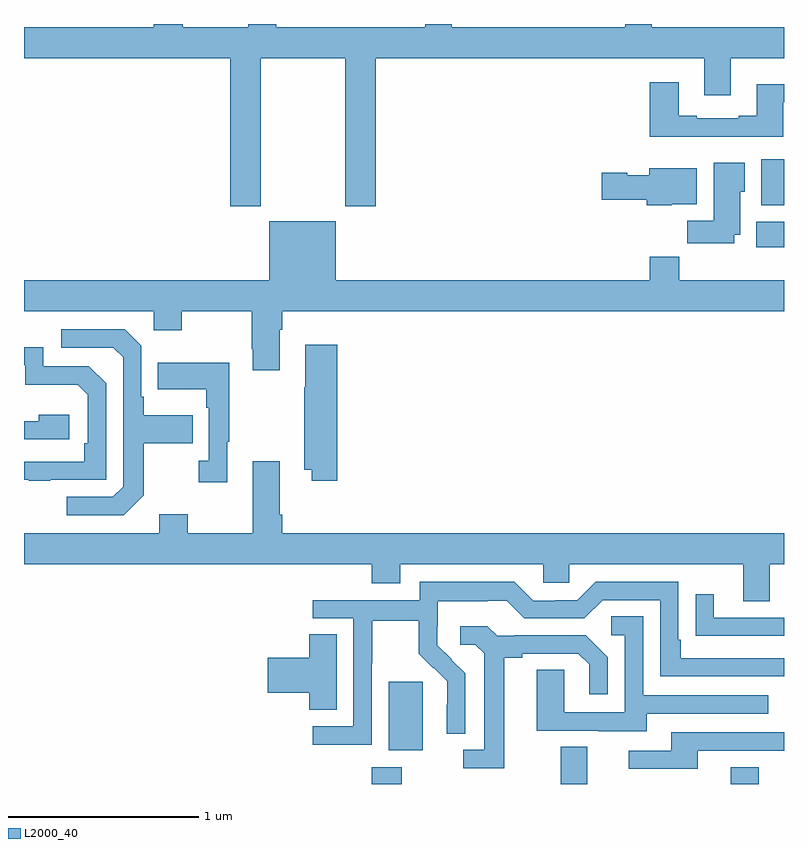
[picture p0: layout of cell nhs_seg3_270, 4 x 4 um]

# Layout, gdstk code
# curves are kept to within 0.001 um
import gdstk
lib = gdstk.Library(unit=1e-6, precision=1e-09)
def R(c, l, rs):  # rectangles x0, y0, x1, y1
    for r in rs: c.add(gdstk.rectangle(r[:2], r[2:], *l))
def P(c, l, *ps):  # polygons
    for p in ps: c.add(gdstk.Polygon(p, *l))
L2000_40 = (2000, 40)

nhs_seg3_270 = lib.new_cell('nhs_seg3_270')
R(nhs_seg3_270, L2000_40, [(124.829,726.4,124.989,726.487), (125.825,726.4,125.965,726.596), (126.719,726.4,126.867,726.487), (124.919,726.578,125.098,726.939), (126.854,729.224,127,729.358), (126.881,729.446,127,729.688)])
P(nhs_seg3_270, L2000_40, [(124.245,730.22),(124.69,730.22),(124.69,729.441),(124.85,729.441),(124.85,730.22),(126.581,730.22),(126.581,730.026),(126.721,730.026),(126.721,730.22),(127,730.22),(127,730.384),(126.303,730.384),(126.303,730.4),(126.165,730.4),(126.165,730.384),(125.251,730.384),(125.251,730.4),(125.111,730.4),(125.111,730.384),(124.327,730.384),(124.327,730.4),(124.18,730.4),(124.18,730.384),(123.835,730.384),(123.835,730.4),(123.683,730.4),(123.683,730.384),(123,730.384),(123,730.22),(124.085,730.22),(124.085,729.441),(124.245,729.441)],
  [(126.997,729.987),(127,729.987),(127,730.084),(126.857,730.084),(126.857,729.916),(126.761,729.916),(126.761,729.903),(126.541,729.903),(126.541,729.916),(126.445,729.916),(126.445,730.093),(126.293,730.093),(126.293,729.806),(126.997,729.806)],
  [(126.739,729.29),(126.769,729.29),(126.769,729.516),(126.793,729.516),(126.793,729.67),(126.629,729.67),(126.629,729.364),(126.49,729.364),(126.49,729.246),(126.739,729.246)],
  [(126.408,729.452),(126.541,729.452),(126.541,729.64),(126.29,729.64),(126.29,729.604),(126.174,729.604),(126.174,729.617),(126.042,729.617),(126.042,729.475),(126.278,729.475),(126.278,729.446),(126.408,729.446)],
  [(124.345,728.792),(124.358,728.792),(124.358,728.888),(127,728.888),(127,729.052),(126.449,729.052),(126.449,729.176),(126.293,729.176),(126.293,729.052),(124.642,729.052),(124.642,729.361),(124.292,729.361),(124.292,729.052),(123,729.052),(123,728.888),(123.684,728.888),(123.684,728.789),(123.831,728.789),(123.831,728.888),(124.198,728.888),(124.198,728.689),(124.205,728.689),(124.205,728.577),(124.345,728.577)],
  [(123.631,727.921),(123.631,728.194),(123.887,728.194),(123.887,728.341),(123.631,728.341),(123.631,728.437),(123.618,728.437),(123.618,728.706),(123.531,728.793),(123.195,728.793),(123.195,728.697),(123.471,728.697),(123.522,728.646),(123.522,727.965),(123.468,727.911),(123.225,727.911),(123.225,727.815),(123.525,727.815)],
  [(124.649,728.713),(124.481,728.713),(124.481,728.489),(124.474,728.489),(124.474,728.054),(124.514,728.054),(124.514,727.995),(124.649,727.995)],
  [(123.137,728.001),(123.432,728.001),(123.432,728.508),(123.342,728.598),(123.102,728.598),(123.102,728.7),(123,728.7),(123,728.604),(123.006,728.604),(123.006,728.501),(123.283,728.501),(123.336,728.448),(123.336,728.194),(123.316,728.194),(123.316,728.097),(123,728.097),(123,728.001),(123.025,728.001),(123.025,727.996),(123.137,727.996)],
  [(124.069,728.201),(124.081,728.201),(124.081,728.617),(123.703,728.617),(123.703,728.477),(123.96,728.477),(123.96,728.381),(123.972,728.381),(123.972,728.102),(123.921,728.102),(123.921,727.989),(124.069,727.989)],
  [(123.238,728.344),(123.077,728.344),(123.077,728.31),(123,728.31),(123,728.214),(123.238,728.214)],
  [(126.925,727.556),(127,727.556),(127,727.72),(124.358,727.72),(124.358,727.816),(124.345,727.816),(124.345,728.098),(124.205,728.098),(124.205,727.72),(123.861,727.72),(123.861,727.819),(123.713,727.819),(123.713,727.72),(123,727.72),(123,727.556),(124.829,727.556),(124.829,727.457),(124.981,727.457),(124.981,727.556),(125.733,727.556),(125.733,727.458),(125.871,727.458),(125.871,727.556),(126.785,727.556),(126.785,727.362),(126.925,727.362)],
  [(124.83,727.036),(124.833,727.036),(124.833,727.26),(125.077,727.26),(125.077,727.085),(125.154,727.008),(125.157,727.011),(125.228,726.941),(125.228,726.818),(125.226,726.818),(125.226,726.664),(125.322,726.664),(125.322,726.982),(125.176,727.13),(125.176,727.227),(125.178,727.227),(125.178,727.361),(125.441,727.361),(125.441,727.365),(125.541,727.365),(125.634,727.272),(125.949,727.272),(126.045,727.368),(126.348,727.368),(126.348,726.966),(127,726.966),(127,727.062),(126.457,727.062),(126.457,727.159),(126.444,727.159),(126.444,727.464),(126.009,727.464),(125.913,727.368),(125.795,727.368),(125.795,727.365),(125.679,727.365),(125.579,727.465),(125.082,727.465),(125.082,727.368),(124.521,727.368),(124.521,727.272),(124.734,727.272),(124.734,726.705),(124.521,726.705),(124.521,726.607),(124.83,726.607)],
  [(127,727.275),(126.631,727.275),(126.631,727.399),(126.535,727.399),(126.535,727.18),(126.637,727.18),(126.637,727.179),(127,727.179)],
  [(126.277,726.771),(126.917,726.771),(126.917,726.867),(126.258,726.867),(126.258,727.283),(126.09,727.283),(126.09,727.182),(126.162,727.182),(126.162,726.777),(125.844,726.777),(125.844,727.001),(125.699,727.001),(125.699,726.681),(126.023,726.681),(126.023,726.677),(126.277,726.677)],
  [(125.527,727.064),(125.623,727.064),(125.623,727.086),(125.918,727.086),(125.975,727.029),(125.975,726.873),(126.072,726.873),(126.072,727.066),(125.956,727.182),(125.584,727.182),(125.584,727.179),(125.49,727.179),(125.438,727.231),(125.295,727.231),(125.295,727.134),(125.376,727.134),(125.423,727.087),(125.423,726.579),(125.313,726.579),(125.313,726.483),(125.527,726.483)],
  [(124.645,727.187),(124.502,727.187),(124.502,727.064),(124.284,727.064),(124.284,726.881),(124.502,726.881),(124.502,726.79),(124.645,726.79)],
  [(126.547,726.576),(127,726.576),(127,726.672),(126.407,726.672),(126.407,726.576),(126.183,726.576),(126.183,726.48),(126.547,726.48)])

lib.write_gds('nhs_seg3_270.gds')
